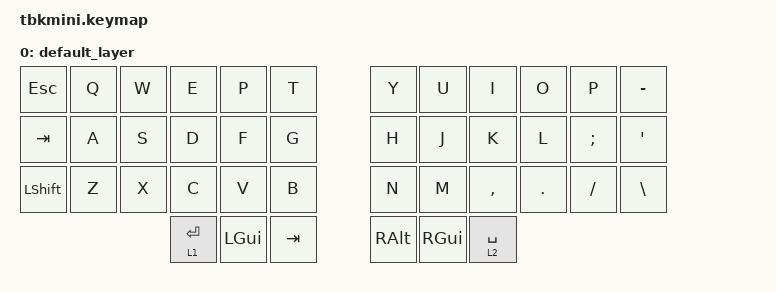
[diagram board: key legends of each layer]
/*
 * Copyright (c) 2021 Casey Webster
 *
 * SPDX-License-Identifier: MIT
 */

#include <behaviors.dtsi>
#include <dt-bindings/zmk/keys.h>

/ {
	keymap {
		compatible = "zmk,keymap";

		default_layer {
			bindings = <
	&kp ESC   &kp Q &kp W     &kp E    &kp P   &kp T          &kp Y &kp U  &kp I     &kp O   &kp P  	 &kp MINUS
	&kp TAB   &kp A &kp S     &kp D    &kp F   &kp G          &kp H &kp J  &kp K     &kp L   &kp SEMI    &kp SQT
	&kp LSHFT &kp Z &kp X     &kp C    &kp V   &kp B          &kp N &kp M  &kp COMMA &kp DOT &kp FSLH    &kp BSLH
	                  &lt 1 RET   &kp LGUI   &kp TAB            &kp RALT   &kp RGUI   &lt 2 SPACE
			>;
		};
	};
};
